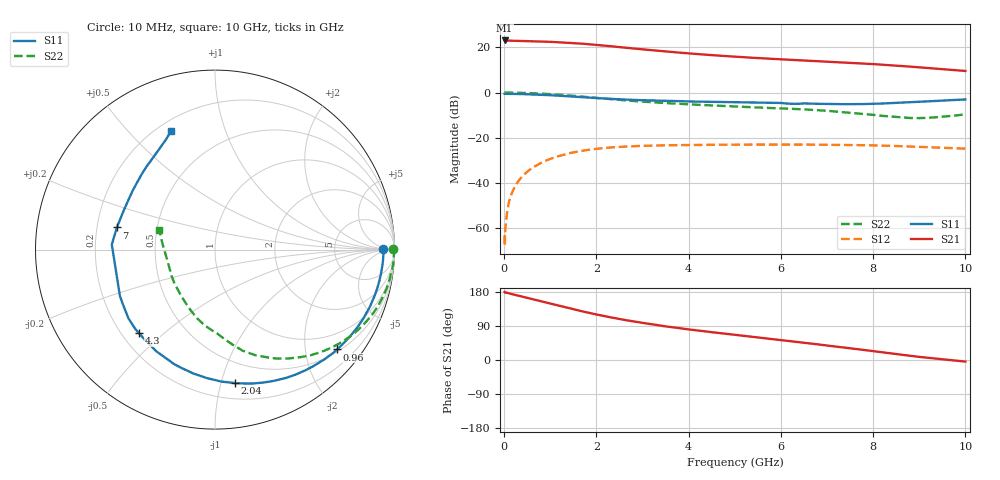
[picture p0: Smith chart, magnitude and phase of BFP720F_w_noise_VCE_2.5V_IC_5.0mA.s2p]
! (c) 2016  Infineon Technologies AG, Munich
! Infineon Technologies  Discrete & RF Semiconductors
! BFP720F
! VCE =  2.5 V,  IC =  5.0 mA
! Common Emitter S-Parameters:  Jan 2016
# GHz  S  MA  R  50
!  f  S11  S21  S12  S22
! GHz  MAG  ANG  MAG  ANG  MAG  ANG  MAG  ANG
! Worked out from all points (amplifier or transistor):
!   233 points, 10 MHz to 10 GHz, reference 50 ohm
!   highest |S21| = 23.1 dB at 10 MHz (marker M1)
!   |S21| within 3 dB of that: start of sweep to 2.529 GHz
!   unconditionally stable (mu >= 1): 7.837 GHz to end of sweep
!   at 200 MHz: K = 0.03, MSG = 32.9 dB, |S12| = -43.0 dB
!   at 1.74 GHz: K = 0.21, MSG = 23.6 dB, |S12| = -25.6 dB
!   at 10 GHz: K = 1.28, MAG = 14.0 dB, |S12| = -24.8 dB
!   lowest NFmin = 0.41 dB at 450 MHz
!   S11 on the Smith chart (normalised r, x): 10 MHz: 30, +2; 960 MHz: 0.56, -2.70; 2.04 GHz: 0.32, -1.11; 4.3 GHz: 0.27, -0.41; 7 GHz: 0.28, +0.10; 10 GHz: 0.25, +0.67
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0.01  0.9365 0.2  14.22 179.4  0.0007 -21.7  0.9898 0.1
0.015  0.9381 -0.3  14.1 178.6  0.0004 42.3  0.9948 -0.5
0.02  0.9397 -0.7  13.98 177.7  0.0008 94.1  1 -1.1
0.05  0.938 -2.1  14.12 177.8  0.0017 88.9  0.9972 -1.4
0.11  0.9377 -4.4  14.1 175.9  0.004 87.3  0.9974 -3.0
0.26  0.9324 -10.5  13.97 171.0  0.0093 83.3  0.9924 -7.1
0.8  0.8947 -32.8  13.54 154.7  0.0278 69.3  0.9501 -21.9
0.96  0.8782 -39.3  13.31 149.8  0.0329 65.0  0.9299 -26.1
1.3  0.84 -53.2  12.75 139.8  0.0426 56.4  0.8805 -35.1
1.68  0.7923 -68.6  12.1 128.8  0.0514 47.3  0.8162 -44.6
2.04  0.7512 -81.6  11.26 119.2  0.0576 39.4  0.7566 -52.6
2.4  0.7184 -93.3  10.37 110.5  0.0621 32.4  0.7029 -59.8
2.78  0.6897 -104.0  9.499 102.1  0.0649 26.3  0.653 -65.8
3.4  0.6571 -117.8  8.301 90.7  0.0678 18.3  0.5939 -73.3
4  0.636 -128.2  7.359 80.7  0.0693 12.1  0.5487 -78.5
4.3  0.6292 -132.4  6.97 76.5  0.0697 9.6  0.531 -80.4
5.1  0.6121 -142.8  6.132 65.1  0.0705 3.4  0.4876 -85.7
6.8  0.5644 171.3  4.945 41.3  0.0703 -7.8  0.4066 -101.8
7  0.5604 167.3  4.834 38.2  0.0701 -9.1  0.3953 -104.6
8.4  0.585 134.5  4.019 17.3  0.0662 -17.6  0.2942 -140.0
9  0.6259 122.0  3.618 8.2  0.0628 -20.4  0.2721 -167.3
10  0.7054 110.1  3.007 -4.2  0.0575 -22.3  0.329 160.5
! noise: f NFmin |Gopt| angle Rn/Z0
0.45  0.41  0.49  4  0.15
0.9  0.44  0.48  9  0.17
1.8  0.5  0.44  20  0.17
2.4  0.54  0.41  29  0.14
5.5  0.72  0.37  68  0.1
10  1  0.25  -109  0.15
